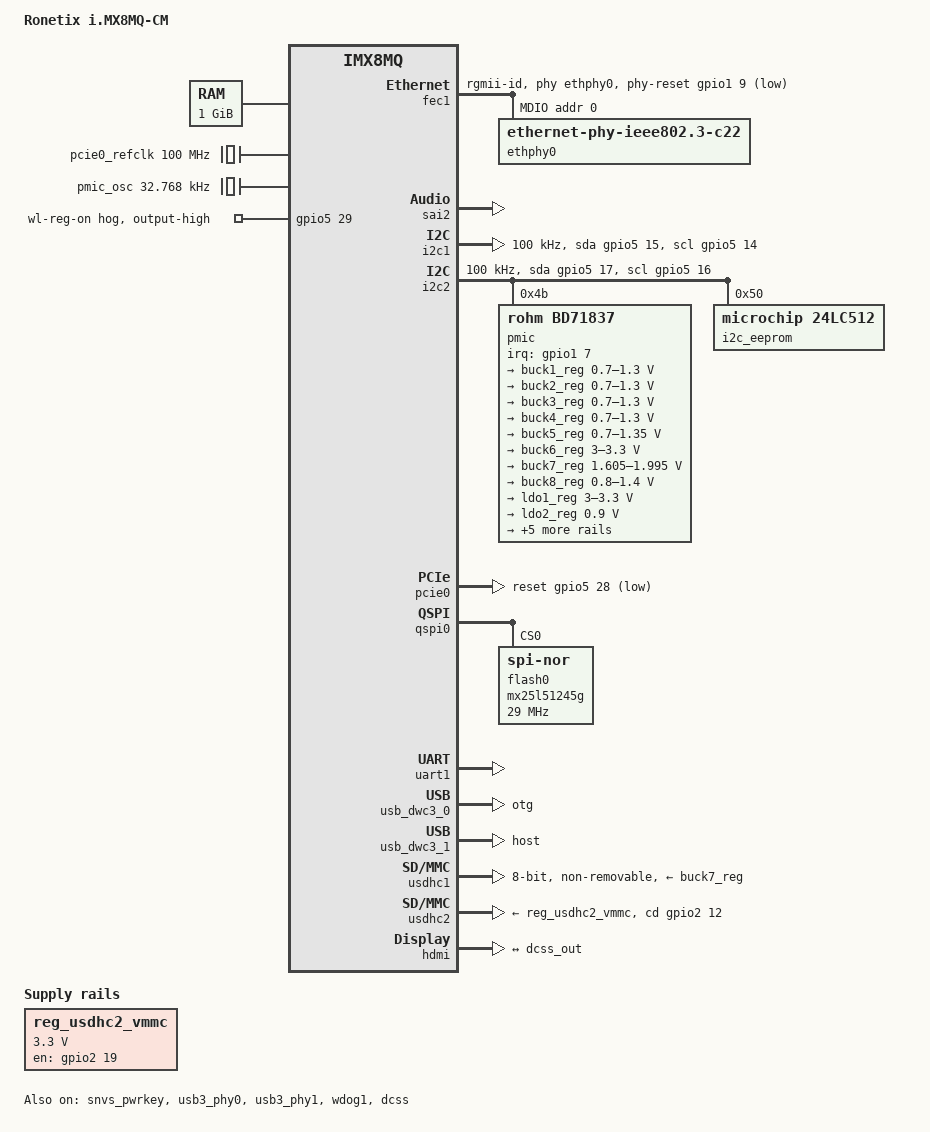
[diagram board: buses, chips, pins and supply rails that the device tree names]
// SPDX-License-Identifier: (GPL-2.0 OR MIT)
/*
 * Copyright 2017 NXP
 * Copyright (C) 2017-2018 Pengutronix, Lucas Stach <kernel@pengutronix.de>
 */

/dts-v1/;

#include "imx8mq.dtsi"

/ {
	model = "Ronetix i.MX8MQ-CM";
	compatible = "fsl,imx8mq-evk", "fsl,imx8mq";

	chosen {
		bootargs = "console=ttymxc0,115200 earlycon=ec_imx6q,0x30860000,115200";
		stdout-path = &uart1;
	};

	firmware {
		optee {
			compatible = "linaro,optee-tz";
			method = "smc";
		};
	};

	memory@40000000 {
		device_type = "memory";
		reg = <0x00000000 0x40000000 0 0x40000000>;
	};

	pcie0_refclk: pcie0-refclk {
		compatible = "fixed-clock";
		#clock-cells = <0>;
		clock-frequency = <100000000>;
	};

	pmic_osc: clock-pmic {
		compatible = "fixed-clock";
		#clock-cells = <0>;
		clock-frequency = <32768>;
		clock-output-names = "pmic_osc";
	};

	reg_usdhc2_vmmc: regulator-vsd-3v3 {
		pinctrl-names = "default";
		pinctrl-0 = <&pinctrl_reg_usdhc2>;
		compatible = "regulator-fixed";
		regulator-name = "VSD_3V3";
		regulator-min-microvolt = <3300000>;
		regulator-max-microvolt = <3300000>;
		gpio = <&gpio2 19 GPIO_ACTIVE_HIGH>;
		off-on-delay-us = <20000>;
		enable-active-high;
	};
};

&A53_0 {
	cpu-supply = <&buck2_reg>;
};

&A53_1 {
	cpu-supply = <&buck2_reg>;
};

&A53_2 {
	cpu-supply = <&buck2_reg>;
};

&A53_3 {
	cpu-supply = <&buck2_reg>;
};

&fec1 {
	pinctrl-names = "default";
	pinctrl-0 = <&pinctrl_fec1>;
	phy-mode = "rgmii-id";
	phy-handle = <&ethphy0>;
	phy-reset-gpios = <&gpio1 9 GPIO_ACTIVE_LOW>;
	phy-reset-duration = <10>;
	fsl,magic-packet;
	status = "okay";

	mdio {
		#address-cells = <1>;
		#size-cells = <0>;

		ethphy0: ethernet-phy@0 {
			compatible = "ethernet-phy-ieee802.3-c22";
			reg = <0>;
			at803x,eee-disabled;
		};
	};
};

&sai2 {
	pinctrl-names = "default";
	pinctrl-0 = <&pinctrl_sai2>;
	assigned-clocks = <&clk IMX8MQ_AUDIO_PLL1_BYPASS>, <&clk IMX8MQ_CLK_SAI2>;
	assigned-clock-parents = <&clk IMX8MQ_AUDIO_PLL1>, <&clk IMX8MQ_AUDIO_PLL1_OUT>;
	assigned-clock-rates = <0>, <24576000>;
	status = "okay";
};

&gpio5 {
	pinctrl-names = "default";
	pinctrl-0 = <&pinctrl_wifi_reset>;

	wl-reg-on {
		gpio-hog;
		gpios = <29 GPIO_ACTIVE_HIGH>;
		output-high;
	};
};

&i2c1 {
	clock-frequency = <100000>;
	pinctrl-names = "default", "gpio";
	pinctrl-0 = <&pinctrl_i2c1>;
	pinctrl-1 = <&pinctrl_i2c1_gpio>;
	scl-gpios = <&gpio5 14 GPIO_ACTIVE_HIGH>;
	sda-gpios = <&gpio5 15 GPIO_ACTIVE_HIGH>;
	status = "okay";
};


&i2c2 {
	clock-frequency = <100000>;
	pinctrl-names = "default", "gpio";
	pinctrl-0 = <&pinctrl_i2c2>;
	pinctrl-1 = <&pinctrl_i2c2_gpio>;
	scl-gpios = <&gpio5 16 GPIO_ACTIVE_HIGH>;
	sda-gpios = <&gpio5 17 GPIO_ACTIVE_HIGH>;
	status = "okay";

	pmic: pmic@4b {
		compatible = "rohm,bd71837";
		reg = <0x4b>;
		pinctrl-names = "default";
		pinctrl-0 = <&pinctrl_pmic>;
		clocks = <&pmic_osc>;
		clock-names = "osc";
		clock-output-names = "pmic_clk";
		interrupt-parent = <&gpio1>;
		interrupts = <7 GPIO_ACTIVE_LOW>;
		interrupt-names = "irq";
		rohm,reset-snvs-powered;

		regulators {
			buck1_reg: BUCK1 {
				regulator-name = "buck1";
				regulator-min-microvolt = <700000>;
				regulator-max-microvolt = <1300000>;
				regulator-boot-on;
				regulator-ramp-delay = <1250>;
				rohm,dvs-run-voltage = <900000>;
				rohm,dvs-idle-voltage = <850000>;
				rohm,dvs-suspend-voltage = <800000>;
			};

			buck2_reg: BUCK2 {
				regulator-name = "buck2";
				regulator-min-microvolt = <700000>;
				regulator-max-microvolt = <1300000>;
				regulator-boot-on;
				regulator-ramp-delay = <1250>;
				rohm,dvs-run-voltage = <1000000>;
				rohm,dvs-idle-voltage = <900000>;
			};

			buck3_reg: BUCK3 {
				regulator-name = "buck3";
				regulator-min-microvolt = <700000>;
				regulator-max-microvolt = <1300000>;
				regulator-boot-on;
				rohm,dvs-run-voltage = <1000000>;
			};

			buck4_reg: BUCK4 {
				regulator-name = "buck4";
				regulator-min-microvolt = <700000>;
				regulator-max-microvolt = <1300000>;
				rohm,dvs-run-voltage = <1000000>;
			};

			buck5_reg: BUCK5 {
				regulator-name = "buck5";
				regulator-min-microvolt = <700000>;
				regulator-max-microvolt = <1350000>;
				regulator-boot-on;
			};

			buck6_reg: BUCK6 {
				regulator-name = "buck6";
				regulator-min-microvolt = <3000000>;
				regulator-max-microvolt = <3300000>;
				regulator-boot-on;
			};

			buck7_reg: BUCK7 {
				regulator-name = "buck7";
				regulator-min-microvolt = <1605000>;
				regulator-max-microvolt = <1995000>;
				regulator-boot-on;
			};

			buck8_reg: BUCK8 {
				regulator-name = "buck8";
				regulator-min-microvolt = <800000>;
				regulator-max-microvolt = <1400000>;
				regulator-boot-on;
			};

			ldo1_reg: LDO1 {
				regulator-name = "ldo1";
				regulator-min-microvolt = <3000000>;
				regulator-max-microvolt = <3300000>;
				regulator-boot-on;
				/* leave on for snvs power button */
				regulator-always-on;
			};

			ldo2_reg: LDO2 {
				regulator-name = "ldo2";
				regulator-min-microvolt = <900000>;
				regulator-max-microvolt = <900000>;
				regulator-boot-on;
				/* leave on for snvs power button */
				regulator-always-on;
			};

			ldo3_reg: LDO3 {
				regulator-name = "ldo3";
				regulator-min-microvolt = <1800000>;
				regulator-max-microvolt = <3300000>;
				regulator-boot-on;
			};

			ldo4_reg: LDO4 {
				regulator-name = "ldo4";
				regulator-min-microvolt = <900000>;
				regulator-max-microvolt = <1800000>;
				regulator-boot-on;
			};

			ldo5_reg: LDO5 {
				regulator-name = "ldo5";
				regulator-min-microvolt = <1800000>;
				regulator-max-microvolt = <3300000>;
			};

			ldo6_reg: LDO6 {
				regulator-name = "ldo6";
				regulator-min-microvolt = <900000>;
				regulator-max-microvolt = <1800000>;
				regulator-boot-on;
			};

			ldo7_reg: LDO7 {
				regulator-name = "ldo7";
				regulator-min-microvolt = <1800000>;
				regulator-max-microvolt = <3300000>;
				regulator-boot-on;
			};
		};
	};
	
	i2c_eeprom: i2c_eeprom@50 {
		compatible = "microchip,24lc512";
		reg = <0x50>;
		pagesize = <128>;
	};
};

&pcie0 {
	pinctrl-names = "default";
	pinctrl-0 = <&pinctrl_pcie0>;
	reset-gpio = <&gpio5 28 GPIO_ACTIVE_LOW>;
	clocks = <&clk IMX8MQ_CLK_PCIE1_ROOT>,
		 <&clk IMX8MQ_CLK_PCIE1_AUX>,
		 <&clk IMX8MQ_CLK_PCIE1_PHY>,
		 <&pcie0_refclk>;
	clock-names = "pcie", "pcie_aux", "pcie_phy", "pcie_bus";
	hard-wired = <1>;
	status = "okay";
};

&pgc_gpu {
	power-supply = <&buck3_reg>;
};

&snvs_pwrkey {
	status = "okay";
};

&qspi0 {
	pinctrl-names = "default";
	pinctrl-0 = <&pinctrl_qspi>;
	status = "okay";

	flash0: mx25l51245g@0 {
		reg = <0>;
		#address-cells = <1>;
		#size-cells = <1>;
		compatible = "jedec,spi-nor";
		spi-max-frequency = <29000000>;
		spi-tx-bus-width = <1>;
		spi-rx-bus-width = <1>;
		spi-nor,ddr-quad-read-dummy = <6>;
	};
};

&uart1 {
	pinctrl-names = "default";
	pinctrl-0 = <&pinctrl_uart1>;
	assigned-clocks = <&clk IMX8MQ_CLK_UART1>;
	assigned-clock-parents = <&clk IMX8MQ_CLK_25M>;
	status = "okay";
};

&usb3_phy0 {
	status = "okay";
};

&usb_dwc3_0 {
	dr_mode = "otg";
	hnp-disable;
	srp-disable;
	adp-disable;
	usb-role-switch;
	snps,dis-u1-entry-quirk;
	snps,dis-u2-entry-quirk;
	status = "okay";
};

&usb3_phy1 {
	status = "okay";
};

&usb_dwc3_1 {
	dr_mode = "host";
	status = "okay";
};

&usdhc1 {
	pinctrl-names = "default", "state_100mhz", "state_200mhz";
	pinctrl-0 = <&pinctrl_usdhc1>;
	pinctrl-1 = <&pinctrl_usdhc1_100mhz>;
	pinctrl-2 = <&pinctrl_usdhc1_200mhz>;
	vmmc-supply = <&buck7_reg>;
	bus-width = <8>;
	non-removable;
	no-sd;
	no-sdio;
	mmc-hs400-1_8v;
	status = "okay";
};

&usdhc2 {
	pinctrl-names = "default", "state_100mhz", "state_200mhz";
	pinctrl-0 = <&pinctrl_usdhc2>;
	pinctrl-1 = <&pinctrl_usdhc2_100mhz>;
	pinctrl-2 = <&pinctrl_usdhc2_200mhz>;
	cd-gpios = <&gpio2 12 GPIO_ACTIVE_HIGH>;
	vmmc-supply = <&reg_usdhc2_vmmc>;
	sd-uhs-sdr104;
	sd-uhs-ddr50;
	status = "okay";
};

&wdog1 {
	pinctrl-names = "default";
	pinctrl-0 = <&pinctrl_wdog>;
	fsl,ext-reset-output;
	status = "okay";
};

&dcss {
	status = "okay";
	port@0 {
		dcss_out: endpoint {
			remote-endpoint = <&hdmi_in>;
		};
	};
};

&hdmi {
	compatible = "fsl,imx8mq-hdmi";
	status = "okay";

	display-timings {
		native-mode = <&timing1>;

		timing1: timing1 {
			clock-frequency = <74250000>;
			hactive = <1280>;
			vactive = <720>;
			hfront-porch = <220>;
			hback-porch = <110>;
			hsync-len = <40>;
			vback-porch = <5>;
			vfront-porch = <20>;
			vsync-len = <5>;
		};
	};
	
	port@0 {
		hdmi_in: endpoint {
			remote-endpoint = <&dcss_out>;
		};
	};
};

&iomuxc {
	pinctrl-names = "default";

	pinctrl_buck2: vddarmgrp {
		fsl,pins = <
			MX8MQ_IOMUXC_GPIO1_IO13_GPIO1_IO13		0x19
		>;

	};

	pinctrl_fec1: fec1grp {
		fsl,pins = <
			MX8MQ_IOMUXC_ENET_MDC_ENET1_MDC			0x3
			MX8MQ_IOMUXC_ENET_MDIO_ENET1_MDIO		0x23
			MX8MQ_IOMUXC_ENET_TD3_ENET1_RGMII_TD3		0x1f
			MX8MQ_IOMUXC_ENET_TD2_ENET1_RGMII_TD2		0x1f
			MX8MQ_IOMUXC_ENET_TD1_ENET1_RGMII_TD1		0x1f
			MX8MQ_IOMUXC_ENET_TD0_ENET1_RGMII_TD0		0x1f
			MX8MQ_IOMUXC_ENET_RD3_ENET1_RGMII_RD3		0x91
			MX8MQ_IOMUXC_ENET_RD2_ENET1_RGMII_RD2		0x91
			MX8MQ_IOMUXC_ENET_RD1_ENET1_RGMII_RD1		0x91
			MX8MQ_IOMUXC_ENET_RD0_ENET1_RGMII_RD0		0x91
			MX8MQ_IOMUXC_ENET_TXC_ENET1_RGMII_TXC		0x1f
			MX8MQ_IOMUXC_ENET_RXC_ENET1_RGMII_RXC		0x91
			MX8MQ_IOMUXC_ENET_RX_CTL_ENET1_RGMII_RX_CTL	0x91
			MX8MQ_IOMUXC_ENET_TX_CTL_ENET1_RGMII_TX_CTL	0x1f
			MX8MQ_IOMUXC_GPIO1_IO09_GPIO1_IO9		0x19
		>;
	};

	pinctrl_i2c1: i2c1grp {
		fsl,pins = <
			MX8MQ_IOMUXC_I2C1_SCL_I2C1_SCL			0x4000007f
			MX8MQ_IOMUXC_I2C1_SDA_I2C1_SDA			0x4000007f
		>;
	};

	pinctrl_i2c2: i2c2grp {
		fsl,pins = <
			MX8MQ_IOMUXC_I2C2_SCL_I2C2_SCL	0x40000067
			MX8MQ_IOMUXC_I2C2_SDA_I2C2_SDA	0x40000067
		>;
	};

	pinctrl_i2c1_gpio: i2c1grp-gpio {
		fsl,pins = <
			MX8MQ_IOMUXC_I2C1_SCL_GPIO5_IO14        		0x7f
			MX8MQ_IOMUXC_I2C1_SDA_GPIO5_IO15        		0x7f
		>;
	};

	pinctrl_i2c2_gpio: i2c2grp-gpio {
		fsl,pins = <
			MX8MQ_IOMUXC_I2C2_SCL_GPIO5_IO16        		0x7f
			MX8MQ_IOMUXC_I2C2_SDA_GPIO5_IO17        		0x7f
		>;
	};

	pinctrl_pcie0: pcie0grp {
		fsl,pins = <
			MX8MQ_IOMUXC_I2C4_SCL_PCIE1_CLKREQ_B		0x76
			MX8MQ_IOMUXC_UART4_RXD_GPIO5_IO28		0x16
		>;
	};

	pinctrl_pmic: pmicgrp {
		fsl,pins = <
			MX8MQ_IOMUXC_GPIO1_IO07_GPIO1_IO7	0x80  /* PMIC intr */
		>;
	};

	pinctrl_qspi: qspigrp {
		fsl,pins = <
			MX8MQ_IOMUXC_NAND_ALE_QSPI_A_SCLK	0x82
			MX8MQ_IOMUXC_NAND_CE0_B_QSPI_A_SS0_B	0x82
			MX8MQ_IOMUXC_NAND_DATA00_QSPI_A_DATA0	0x82
			MX8MQ_IOMUXC_NAND_DATA01_QSPI_A_DATA1	0x82
			MX8MQ_IOMUXC_NAND_DATA02_QSPI_A_DATA2	0x82
			MX8MQ_IOMUXC_NAND_DATA03_QSPI_A_DATA3	0x82

		>;
	};

	pinctrl_reg_usdhc2: regusdhc2grpgpio {
		fsl,pins = <
			MX8MQ_IOMUXC_SD2_CD_B_GPIO2_IO12	0x41
			MX8MQ_IOMUXC_SD2_RESET_B_GPIO2_IO19		0x41
		>;
	};

	pinctrl_sai2: sai2grp {
		fsl,pins = <
			MX8MQ_IOMUXC_SAI2_TXFS_SAI2_TX_SYNC     0xd6
			MX8MQ_IOMUXC_SAI2_TXC_SAI2_TX_BCLK      0xd6
			MX8MQ_IOMUXC_SAI2_MCLK_SAI2_MCLK        0xd6
			MX8MQ_IOMUXC_SAI2_TXD0_SAI2_TX_DATA0    0xd6
			MX8MQ_IOMUXC_GPIO1_IO08_GPIO1_IO8       0xd6
		>;
	};

	pinctrl_ss_sel: usb3ssgrp{
		fsl,pins = <
			MX8MQ_IOMUXC_NAND_RE_B_GPIO3_IO15		0x16
		>;
	};

	pinctrl_typec: typecgrp {
		fsl,pins = <
			MX8MQ_IOMUXC_NAND_CE2_B_GPIO3_IO3		0x17059
		>;
	};

	pinctrl_uart1: uart1grp {
		fsl,pins = <
			MX8MQ_IOMUXC_UART1_RXD_UART1_DCE_RX		0x49
			MX8MQ_IOMUXC_UART1_TXD_UART1_DCE_TX		0x49
		>;
	};

	pinctrl_usdhc1: usdhc1grp {
		fsl,pins = <
			MX8MQ_IOMUXC_SD1_CLK_USDHC1_CLK			0x83
			MX8MQ_IOMUXC_SD1_CMD_USDHC1_CMD			0xc3
			MX8MQ_IOMUXC_SD1_DATA0_USDHC1_DATA0		0xc3
			MX8MQ_IOMUXC_SD1_DATA1_USDHC1_DATA1		0xc3
			MX8MQ_IOMUXC_SD1_DATA2_USDHC1_DATA2		0xc3
			MX8MQ_IOMUXC_SD1_DATA3_USDHC1_DATA3		0xc3
			MX8MQ_IOMUXC_SD1_DATA4_USDHC1_DATA4		0xc3
			MX8MQ_IOMUXC_SD1_DATA5_USDHC1_DATA5		0xc3
			MX8MQ_IOMUXC_SD1_DATA6_USDHC1_DATA6		0xc3
			MX8MQ_IOMUXC_SD1_DATA7_USDHC1_DATA7		0xc3
			MX8MQ_IOMUXC_SD1_STROBE_USDHC1_STROBE		0x83
			MX8MQ_IOMUXC_SD1_RESET_B_USDHC1_RESET_B		0xc1
		>;
	};

	pinctrl_usdhc1_100mhz: usdhc1-100grp {
		fsl,pins = <
			MX8MQ_IOMUXC_SD1_CLK_USDHC1_CLK			0x8d
			MX8MQ_IOMUXC_SD1_CMD_USDHC1_CMD			0xcd
			MX8MQ_IOMUXC_SD1_DATA0_USDHC1_DATA0		0xcd
			MX8MQ_IOMUXC_SD1_DATA1_USDHC1_DATA1		0xcd
			MX8MQ_IOMUXC_SD1_DATA2_USDHC1_DATA2		0xcd
			MX8MQ_IOMUXC_SD1_DATA3_USDHC1_DATA3		0xcd
			MX8MQ_IOMUXC_SD1_DATA4_USDHC1_DATA4		0xcd
			MX8MQ_IOMUXC_SD1_DATA5_USDHC1_DATA5		0xcd
			MX8MQ_IOMUXC_SD1_DATA6_USDHC1_DATA6		0xcd
			MX8MQ_IOMUXC_SD1_DATA7_USDHC1_DATA7		0xcd
			MX8MQ_IOMUXC_SD1_STROBE_USDHC1_STROBE		0x8d
			MX8MQ_IOMUXC_SD1_RESET_B_USDHC1_RESET_B		0xc1
		>;
	};

	pinctrl_usdhc1_200mhz: usdhc1-200grp {
		fsl,pins = <
			MX8MQ_IOMUXC_SD1_CLK_USDHC1_CLK			0x9f
			MX8MQ_IOMUXC_SD1_CMD_USDHC1_CMD			0xdf
			MX8MQ_IOMUXC_SD1_DATA0_USDHC1_DATA0		0xdf
			MX8MQ_IOMUXC_SD1_DATA1_USDHC1_DATA1		0xdf
			MX8MQ_IOMUXC_SD1_DATA2_USDHC1_DATA2		0xdf
			MX8MQ_IOMUXC_SD1_DATA3_USDHC1_DATA3		0xdf
			MX8MQ_IOMUXC_SD1_DATA4_USDHC1_DATA4		0xdf
			MX8MQ_IOMUXC_SD1_DATA5_USDHC1_DATA5		0xdf
			MX8MQ_IOMUXC_SD1_DATA6_USDHC1_DATA6		0xdf
			MX8MQ_IOMUXC_SD1_DATA7_USDHC1_DATA7		0xdf
			MX8MQ_IOMUXC_SD1_STROBE_USDHC1_STROBE		0x9f
			MX8MQ_IOMUXC_SD1_RESET_B_USDHC1_RESET_B		0xc1
		>;
	};

	pinctrl_usdhc2: usdhc2grp {
		fsl,pins = <
			MX8MQ_IOMUXC_SD2_CLK_USDHC2_CLK			0x83
			MX8MQ_IOMUXC_SD2_CMD_USDHC2_CMD			0xc3
			MX8MQ_IOMUXC_SD2_DATA0_USDHC2_DATA0		0xc3
			MX8MQ_IOMUXC_SD2_DATA1_USDHC2_DATA1		0xc3
			MX8MQ_IOMUXC_SD2_DATA2_USDHC2_DATA2		0xc3
			MX8MQ_IOMUXC_SD2_DATA3_USDHC2_DATA3		0xc3
			MX8MQ_IOMUXC_GPIO1_IO04_USDHC2_VSELECT		0xc1
		>;
	};

	pinctrl_usdhc2_100mhz: usdhc2-100grp {
		fsl,pins = <
			MX8MQ_IOMUXC_SD2_CLK_USDHC2_CLK			0x85
			MX8MQ_IOMUXC_SD2_CMD_USDHC2_CMD			0xc5
			MX8MQ_IOMUXC_SD2_DATA0_USDHC2_DATA0		0xc5
			MX8MQ_IOMUXC_SD2_DATA1_USDHC2_DATA1		0xc5
			MX8MQ_IOMUXC_SD2_DATA2_USDHC2_DATA2		0xc5
			MX8MQ_IOMUXC_SD2_DATA3_USDHC2_DATA3		0xc5
			MX8MQ_IOMUXC_GPIO1_IO04_USDHC2_VSELECT		0xc1
		>;
	};

	pinctrl_usdhc2_200mhz: usdhc2-200grp {
		fsl,pins = <
			MX8MQ_IOMUXC_SD2_CLK_USDHC2_CLK			0x87
			MX8MQ_IOMUXC_SD2_CMD_USDHC2_CMD			0xc7
			MX8MQ_IOMUXC_SD2_DATA0_USDHC2_DATA0		0xc7
			MX8MQ_IOMUXC_SD2_DATA1_USDHC2_DATA1		0xc7
			MX8MQ_IOMUXC_SD2_DATA2_USDHC2_DATA2		0xc7
			MX8MQ_IOMUXC_SD2_DATA3_USDHC2_DATA3		0xc7
			MX8MQ_IOMUXC_GPIO1_IO04_USDHC2_VSELECT		0xc1
		>;
	};

	pinctrl_wdog: wdog1grp {
		fsl,pins = <
			MX8MQ_IOMUXC_GPIO1_IO02_WDOG1_WDOG_B		0xc6
		>;
	};

	pinctrl_wifi_reset: wifiresetgrp {
		fsl,pins = <
			MX8MQ_IOMUXC_UART4_TXD_GPIO5_IO29		0x16
		>;
	};
};
